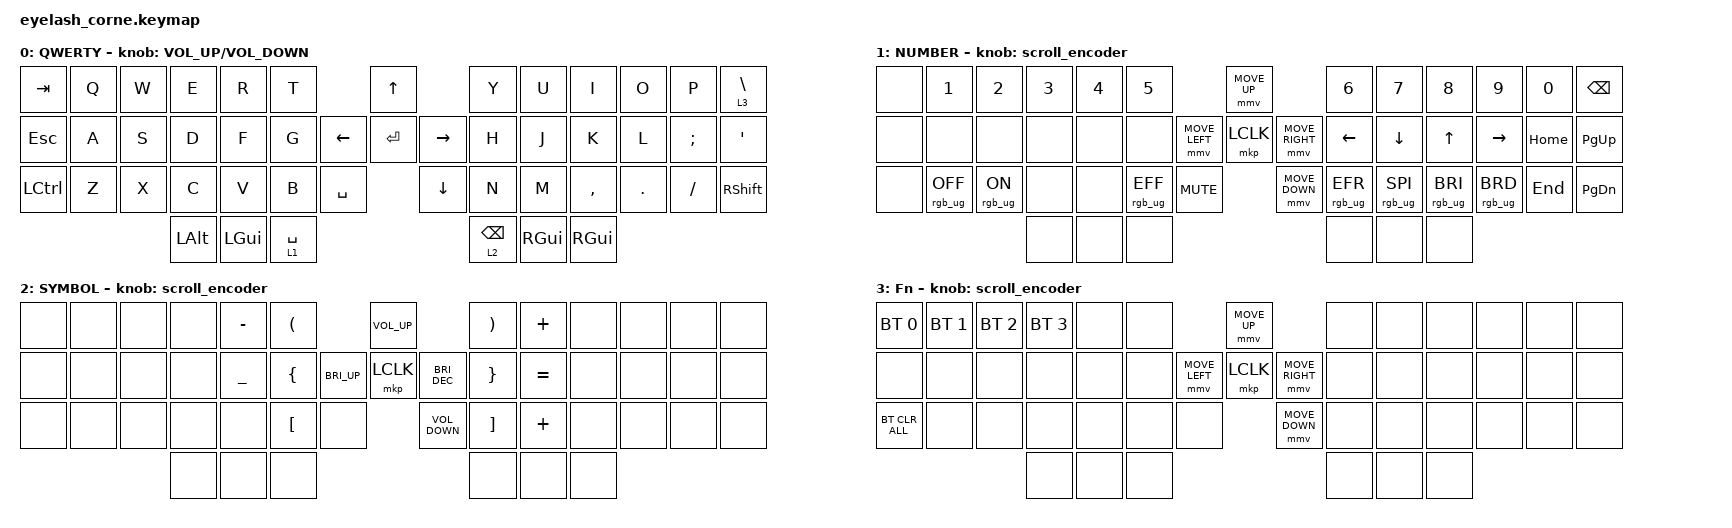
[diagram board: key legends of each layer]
#define ZMK_POINTING_DEFAULT_MOVE_VAL 1200  // 600
#define ZMK_POINTING_DEFAULT_SCRL_VAL 25   // 10

#include <input/processors.dtsi>
#include <zephyr/dt-bindings/input/input-event-codes.h>
#include <behaviors.dtsi>
#include <dt-bindings/zmk/bt.h>
#include <dt-bindings/zmk/keys.h>
#include <dt-bindings/zmk/pointing.h>
#include <dt-bindings/zmk/rgb.h>

&mmv_input_listener { input-processors = <&zip_xy_scaler 2 1>; };

&msc_input_listener { input-processors = <&zip_scroll_scaler 2 1>; };

&msc {
    acceleration-exponent = <1>;      // 0
    time-to-max-speed-ms = <100>;       // 300
    delay-ms = <0>;                   // 0
};

&mmv {
    time-to-max-speed-ms = <500>;
    acceleration-exponent = <1>;
    trigger-period-ms = <16>;
};

&soft_off { hold-time-ms = <2000>; };

/ {
    behaviors {
        td0: td0 {
            compatible = "zmk,behavior-tap-dance";
            display-name = "Shift/Caps Lock Tap Dance";
            #binding-cells = <0>;
            bindings = <&kp LEFT_SHIFT>, <&kp CAPS>;
        };
    };

    rgb_encoder: rgb_encoder {
        compatible = "zmk,behavior-sensor-rotate";
        #sensor-binding-cells = <0>;
        bindings = <&rgb_ug RGB_BRI>, <&rgb_ug RGB_BRD>;
    };

    scroll_encoder: scroll_encoder {
        compatible = "zmk,behavior-sensor-rotate";
        #sensor-binding-cells = <0>;
        bindings = <&msc SCRL_DOWN>, <&msc SCRL_UP>;

        tap-ms = <100>;
    };

    combos {
        compatible = "zmk,combos";

        softoff {
            bindings = <&soft_off>;
            key-positions = <1 15 29>;
        };

        enter {
            bindings = <&kp ENTER>;
            key-positions = <23 24 25>;
        };
    };

    keymap {
        compatible = "zmk,keymap";

        default_layer {
            display-name = "QWERTY";
            bindings = <
&kp TAB     &kp Q  &kp W  &kp E         &kp R         &kp T                               &kp UP                &kp Y            &kp U          &kp I          &kp O    &kp P          &lt 3 BACKSLASH
&kp ESCAPE  &kp A  &kp S  &kp D         &kp F         &kp G                     &kp LEFT  &kp ENTER  &kp RIGHT  &kp H            &kp J          &kp K          &kp L    &kp SEMICOLON  &kp SQT
&kp LCTRL   &kp Z  &kp X  &kp C         &kp V         &kp B        &kp SPACE              &kp DOWN              &kp N            &kp M          &kp COMMA      &kp DOT  &kp FSLH       &kp RIGHT_SHIFT
                          &kp LEFT_ALT  &kp LEFT_GUI  &lt 1 SPACE                                               &lt 2 BACKSPACE  &kp RIGHT_GUI  &kp RIGHT_GUI
            >;

            sensor-bindings = <&inc_dec_kp C_VOLUME_UP C_VOLUME_DOWN>;
        };

        lower_layer {
            display-name = "NUMBER";
            bindings = <
&none  &kp N1           &kp N2          &kp N3  &kp N4  &kp N5                                         &mmv MOVE_UP                     &kp N6           &kp N7           &kp N8           &kp N9           &kp N0    &kp BSPC
&none  &none            &none           &none   &none   &none                          &mmv MOVE_LEFT  &mkp LCLK       &mmv MOVE_RIGHT  &kp LEFT         &kp DOWN         &kp UP           &kp RIGHT        &kp HOME  &kp PG_UP
&none  &rgb_ug RGB_OFF  &rgb_ug RGB_ON  &none   &none   &rgb_ug RGB_EFF  &kp C_MUTE                    &mmv MOVE_DOWN                   &rgb_ug RGB_EFR  &rgb_ug RGB_SPI  &rgb_ug RGB_BRI  &rgb_ug RGB_BRD  &kp END   &kp PG_DN
                                        &none   &none   &none                                                                           &none            &none            &none
            >;

            sensor-bindings = <&scroll_encoder>;
        };

        raise_layer {
            display-name = "SYMBOL";
            bindings = <
&none  &none  &none  &none  &kp MINUS       &kp LEFT_PARENTHESIS                         &kp K_VOLUME_UP                   &kp RIGHT_PARENTHESIS  &kp PLUS   &none  &none  &none  &none
&none  &none  &none  &none  &kp UNDERSCORE  &kp LEFT_BRACE                 &kp C_BRI_UP  &mkp LCLK          &kp C_BRI_DEC  &kp RIGHT_BRACE        &kp EQUAL  &none  &none  &none  &none
&none  &none  &none  &none  &none           &kp LEFT_BRACKET      &none                  &kp K_VOLUME_DOWN                 &kp RIGHT_BRACKET      &kp PLUS   &none  &none  &none  &none
                     &none  &none           &none                                                                          &none                  &none      &none
            >;

            sensor-bindings = <&scroll_encoder>;
        };

        layer_3 {
            display-name = "Fn";
            bindings = <
&bt BT_SEL 0    &bt BT_SEL 1  &bt BT_SEL 2  &bt BT_SEL 3  &none  &none                           &mmv MOVE_UP                     &none  &none  &none  &none  &none  &none
&none           &none         &none         &none         &none  &none           &mmv MOVE_LEFT  &mkp LCLK       &mmv MOVE_RIGHT  &none  &none  &none  &none  &none  &none
&bt BT_CLR_ALL  &none         &none         &none         &none  &none  &none                    &mmv MOVE_DOWN                   &none  &none  &none  &none  &none  &none
                                            &none         &none  &none                                                            &none  &none  &none
            >;

            sensor-bindings = <&scroll_encoder>;
        };
    };
};
